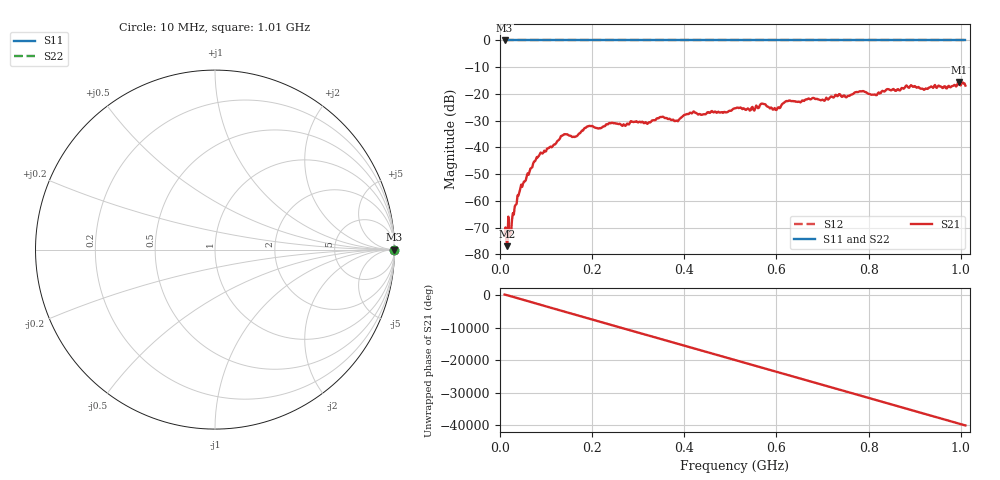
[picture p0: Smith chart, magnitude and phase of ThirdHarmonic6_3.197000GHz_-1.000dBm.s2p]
! 8/17/2025 9:41:56 AM
! C:\ANRITSUVNA\TEMP\TEMP.S2P
! CHANNEL.1
! TR.MEASUREMENT
! RAW.DATA
! RF.CORRECTION.OFF
! AVERAGING.OFF
! IF.BANDWIDTH: 5KHZ
! SWEEPTYPE:  FREQ.SWEEP(Linear)
! Reference Plane Port Info
! PORT:  PORT1  PORT2
! DISTANCE:  0  m  0  m
! TIME:  0  s  0  s
! PHASE.OFFSET:  0  deg.  0  deg.
! LOSS:  0  dB  0  dB
! REF.LOSS:  0  dB  0  dB
! REF.FREQ:  0  Hz  0  Hz
! Power Info
! POWER:  -20  dBm  -20  dBm
! EFF.POWER:  -20  dBm  -20  dBm
! SOURCE.ATTEN:  0  dB  0  dB
! TEST.ATTEN:  0  dB  0  dB
# GHZ S RI R 50.0
! FREQ.GHZ  S11RE  S11IM  S21RE  S21IM  S12RE  S12IM  S22RE  S22IM
!; PortSelection: Port_12
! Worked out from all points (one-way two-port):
!   501 points, 10 MHz to 1.01 GHz, reference 50 ohm
!   highest |S21| = -15.54 dB at 996 MHz (marker M1); lowest = -77.0 dB at 16 MHz (marker M2)
!   lowest |S11| = 0.0 dB at 10 MHz (marker M3)
!   |S11| at or under -10 dB: nowhere
!   |S22| runs from 0.0 to 0.0 dB; largest |S21 - S12| = 1.2
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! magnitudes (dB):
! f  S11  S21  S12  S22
! 10 MHz  0.0  -72.7  0.0  0.0
! 16 MHz  0.0  -77.0  0.0  0.0
! 24 MHz  0.0  -71.9  0.0  0.0
! 42 MHz  0.0  -56.8  0.0  0.0
! 76 MHz  0.0  -45.2  0.0  0.0
! 136 MHz  0.0  -35.5  0.0  0.0
! 162 MHz  0.0  -36.1  0.0  0.0
! 178 MHz  0.0  -33.7  0.0  0.0
! 194 MHz  0.0  -31.9  0.0  0.0
! 344 MHz  0.0  -29.1  0.0  0.0
! 382 MHz  0.0  -30.0  0.0  0.0
! 416 MHz  0.0  -27.3  0.0  0.0
! 510 MHz  0.0  -25.4  0.0  0.0
! 570 MHz  0.0  -23.7  0.0  0.0
! 596 MHz  0.0  -25.3  0.0  0.0
! 624 MHz  0.0  -22.7  0.0  0.0
! 678 MHz  0.0  -21.6  0.0  0.0
! 784 MHz  0.0  -19.0  0.0  0.0
! 814 MHz  0.0  -20.2  0.0  0.0
! 844 MHz  0.0  -18.3  0.0  0.0
! 996 MHz  0.0  -15.5  0.0  0.0
! 1.01 GHz  0.0  -16.9  0.0  0.0
